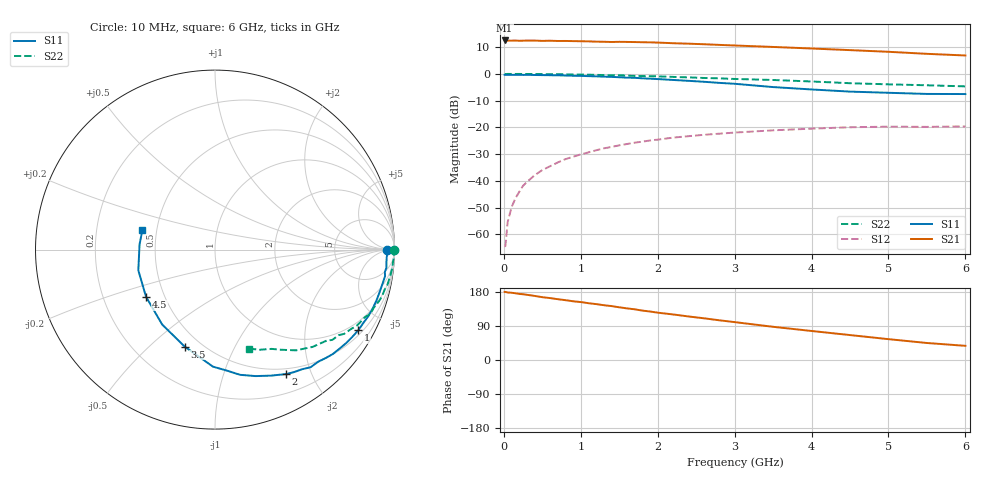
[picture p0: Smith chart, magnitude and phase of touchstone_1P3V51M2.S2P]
! SIEMENS Discrete & RF Semiconductors
! BFP405
! Si NPN RF SIEGET Grounded Emitter Transistor in SOT343
! VCE = 3.5 V  IC = 1.2 mA
! Common Emitter S-Parameters:  February  1998
# GHz  S  MA  R  50
!  f  S11  S21  S12  S22
! GHz  MAG  ANG  MAG  ANG  MAG  ANG  MAG  ANG
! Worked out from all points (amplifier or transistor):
!   36 points, 10 MHz to 6 GHz, reference 50 ohm
!   highest |S21| = 12.5 dB at 10 MHz (marker M1)
!   |S21| within 3 dB of that: start of sweep to 3.995 GHz
!   unconditionally stable (mu >= 1): 5.419 GHz to end of sweep
!   at 250 MHz: K = -0.01, MSG = 27.1 dB, |S12| = -41.8 dB
!   at 1.4 GHz: K = 0.14, MSG = 19.6 dB, |S12| = -27.3 dB
!   at 6 GHz: K = 1.12, MAG = 11.2 dB, |S12| = -19.7 dB
!   lowest NFmin = 0.83 dB at 900 MHz
!   S11 on the Smith chart (normalised r, x): 10 MHz: 46, -4; 1 GHz: 0.67, -3.71; 2 GHz: 0.43, -1.64; 3.5 GHz: 0.41, -0.65; 4.5 GHz: 0.39, -0.27; 6 GHz: 0.42, +0.11
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0.01  0.9576 -0.2  4.211 179.7  0.0006 84.6  0.9947 -0.2
0.02  0.959 -0.5  4.153 179.6  0.0006 63.2  0.988 -0.2
0.05  0.9596 -1.4  4.182 178.2  0.0017 76.6  0.9973 -0.7
0.1  0.9576 -2.6  4.178 177.5  0.0032 88.8  0.9964 -1.5
0.25  0.9546 -7.5  4.168 173.6  0.0081 87.5  0.9943 -3.7
0.4  0.9517 -11.9  4.19 169.1  0.0127 83.5  0.9934 -5.9
0.5  0.9475 -14.3  4.132 165.8  0.0159 82.1  0.9895 -7.4
0.6  0.9432 -17.5  4.163 163.4  0.0187 80.2  0.9867 -8.7
0.9  0.922 -26.3  4.095 155.0  0.0282 76.0  0.9717 -13.1
1  0.9162 -29.3  4.071 152.9  0.0312 74.4  0.9684 -14.5
1.1  0.9066 -32.4  4.05 149.9  0.034 72.8  0.9646 -16.0
1.7  0.8445 -50.9  3.931 133.8  0.0517 62.7  0.9158 -24.3
2  0.7989 -60.2  3.842 124.9  0.0589 57.7  0.8964 -28.2
2.2  0.7691 -65.9  3.739 120.2  0.0642 54.6  0.8768 -30.4
2.4  0.7402 -72.2  3.665 114.9  0.0683 52.2  0.8593 -33.1
2.8  0.6779 -84.3  3.48 104.8  0.0761 46.5  0.8247 -37.6
3.5  0.566 -107.4  3.184 87.6  0.0879 37.1  0.7678 -44.9
4  0.5107 -125.2  2.979 76.6  0.0945 31.6  0.7203 -51.2
4.5  0.4656 -145.6  2.778 65.8  0.1004 25.9  0.6683 -56.6
5  0.4425 -164.9  2.585 55.0  0.103 20.3  0.6368 -60.3
5.5  0.4213 176.1  2.367 44.9  0.102 15.0  0.6113 -65.9
6  0.4191 164.8  2.206 37.4  0.1041 15.0  0.5831 -71.2
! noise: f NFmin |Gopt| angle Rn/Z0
0.9  0.83  0.68  16  0.51
1.8  1.14  0.53  30  0.47
2.4  1.33  0.45  42  0.43
3  1.52  0.45  57  0.4
4  1.78  0.33  84  0.29
